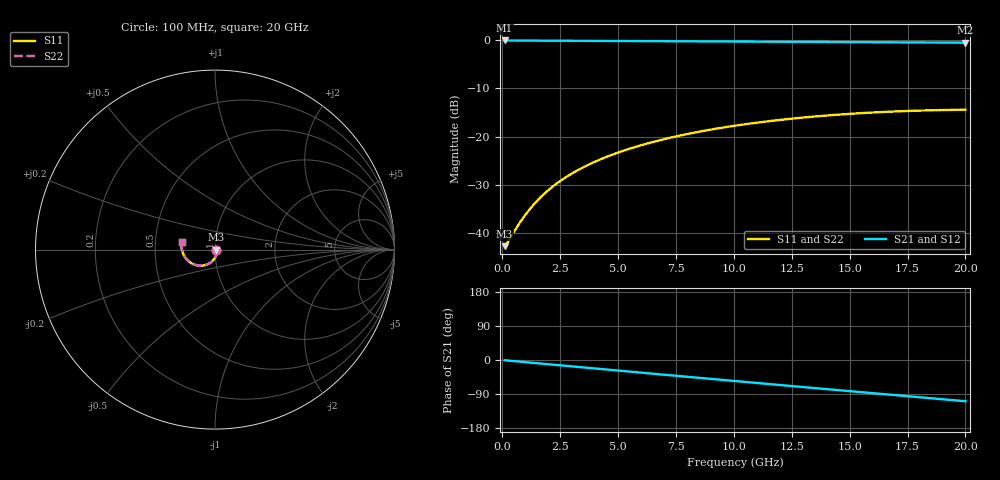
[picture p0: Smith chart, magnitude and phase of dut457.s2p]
! Touchstone file exported from HFSS 2026.1.0
!  File:  C:/ffzhzh/LocalFiles/Ansys_Project_Files/temp_train_TSV_RDL_457_1783100857_37876.aedt
!  Generated:  01:54:17 AM Jul  4, 2026
!  Design:  TSV_RDL
!  Project:  temp_train_TSV_RDL_457_1783100857_37876
! Variables:
!  h_bsmrdl = 3.98um
!  h_ox = 20um
!  h_rdl = 5um
!  h_sub = 73.08um
!  h_tmrdl = 2.01um
!  h_tsv = 73.08um
!  h_via = 3um
!  l_bsmrdl = 134.81um
!  l_sub = 1532.06um
!  l_tmrdl = 146.68um
!  m_sub = 200um
!  pitch = 32.25um
!  r_tsv = 13.67um
!  s_tmrdl = 10um
!  w_bsmrdl = 20.19um
!  w_sub = 500um
!  w_tmrdl = 26.78um
!  x_tsv_center1 = 160.07um
!  x_tsv_center2 = 315.07um
!  x_tsv_center3 = 488.53um
!  x_tsv_center4 = 643.53um
!  x_tsv_center5 = 816.99um
!  x_tsv_center6 = 971.99um
# GHz S MA R 50.000000
! Terminal data exported
! Port[1] = TM_RDL1_1_T1
! Port[2] = TM_RDL5_1_T1
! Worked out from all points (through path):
!   200 points, 100 MHz to 20 GHz, reference 50 ohm
!   highest |S21| = -0.06 dB at 100 MHz (marker M1); lowest = -0.5 dB at 20 GHz (marker M2)
!   group delay of S21, straight-line fit = 15.1 ps
!   lowest |S11| = -42.7 dB at 100 MHz (marker M3), VSWR 1.01, Z = 50.7 - j0.0522 ohm
!   |S11| at or under -10 dB: start of sweep to end of sweep
!   |S22| runs from -42.7 to -14.4 dB; largest |S21 - S12| = 7.6e-13
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0.1  0.007296 -4.0  0.9927 -0.6  0.9927 -0.6  0.007296 -4.0
! Gamma 0 0 0 0
! Port Impedance 50 0 50 0
0.2  0.00781 -9.1  0.9923 -1.2  0.9923 -1.2  0.00781 -9.1
0.6  0.01119 -33.2  0.9903 -3.5  0.9903 -3.5  0.01119 -33.2
0.9  0.01433 -47.2  0.9893 -5.2  0.9893 -5.2  0.01433 -47.2
1.2  0.0178 -57.3  0.9885 -6.9  0.9885 -6.9  0.0178 -57.3
1.6  0.02275 -67.0  0.9876 -9.1  0.9876 -9.1  0.02275 -67.0
2  0.02793 -74.2  0.9868 -11.3  0.9868 -11.3  0.02793 -74.2
2.5  0.03457 -81.3  0.9859 -14.1  0.9859 -14.1  0.03457 -81.2
3  0.0413 -87.0  0.9849 -16.8  0.9849 -16.8  0.0413 -87.0
3.5  0.04806 -92.0  0.9839 -19.6  0.9839 -19.6  0.04806 -92.0
4.2  0.0575 -98.1  0.9825 -23.5  0.9825 -23.5  0.0575 -98.1
5  0.0682 -104.3  0.9807 -27.9  0.9807 -27.9  0.06821 -104.3
5.9  0.08004 -110.7  0.9786 -32.9  0.9786 -32.9  0.08004 -110.7
6.8  0.09158 -116.8  0.9763 -37.8  0.9763 -37.8  0.09158 -116.8
8.4  0.1111 -126.9  0.972 -46.6  0.972 -46.6  0.1111 -126.9
10.1  0.1302 -137.3  0.9671 -55.8  0.9671 -55.8  0.1302 -137.2
11.8  0.1471 -147.3  0.962 -65.0  0.962 -65.0  0.1471 -147.3
13.4  0.1607 -156.5  0.9573 -73.7  0.9573 -73.7  0.1607 -156.5
15  0.172 -165.6  0.9528 -82.2  0.9528 -82.2  0.172 -165.6
16.7  0.1811 -175.1  0.9484 -91.3  0.9484 -91.3  0.1811 -175.1
18.3  0.1868 176.0  0.9447 -99.8  0.9447 -99.8  0.1868 176.0
20  0.1898 166.6  0.9415 -108.8  0.9415 -108.8  0.1898 166.6
